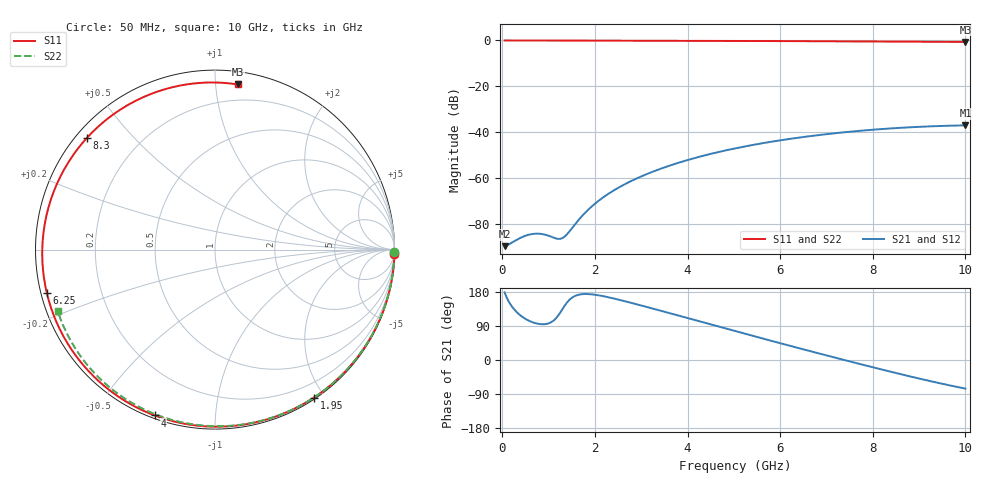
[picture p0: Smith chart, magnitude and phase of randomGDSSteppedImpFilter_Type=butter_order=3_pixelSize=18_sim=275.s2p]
! freq	dB(S11)	phase(S11)	dB(S12)	phase(S12)
!  dB(S21)	phase(S21)	dB(S22)	phase(S22)
!S-par simulation data
#  GHz  S  DB  R 50
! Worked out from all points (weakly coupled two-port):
!   200 points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, 50 MHz to 10 GHz, reference 50 ohm
!   highest |S21| = -36.97 dB at 10 GHz (marker M1); lowest = -89.6 dB at 50 MHz (marker M2)
!   lowest |S11| = -0.6 dB at 10 GHz (marker M3), VSWR 27.07, Z = 4.28 + j57.3 ohm
!   |S11| at or under -10 dB: nowhere
!   |S22| runs from -0.5 to 0.0 dB; largest |S21 - S12| = 0
!   S11 on the Smith chart (normalised r, x): 50 MHz: 0, -77; 1.95 GHz: 0.02, -1.87; 4 GHz: 0.01, -0.70; 6.25 GHz: 0.02, -0.13; 8.3 GHz: 0.03, +0.38; 10 GHz: 0.09, +1.15
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0.05  -0.00 -1.5  -89.58 178.4  -89.58 178.4  -0.00 -0.9
0.75  -0.02 -22.1  -84.13 96.2  -84.13 96.2  -0.01 -13.7
1.55  -0.06 -45.0  -80.58 167.8  -80.58 167.8  -0.04 -28.1
1.75  -0.06 -50.7  -75.83 174.0  -75.83 174.0  -0.04 -31.7
1.95  -0.07 -56.2  -71.95 173.0  -71.95 173.0  -0.05 -35.2
2.25  -0.08 -64.4  -67.32 166.6  -67.32 166.6  -0.05 -40.5
2.55  -0.09 -72.5  -63.64 158.1  -63.64 158.1  -0.06 -45.7
2.95  -0.11 -83.1  -59.65 145.5  -59.65 145.5  -0.07 -52.5
3.4  -0.12 -94.8  -56.01 130.7  -56.01 130.7  -0.08 -60.1
4  -0.15 -110.0  -52.08 110.7  -52.08 110.7  -0.10 -69.9
4.5  -0.17 -122.4  -49.39 94.0  -49.39 94.0  -0.11 -77.9
5.05  -0.20 -135.8  -46.90 75.6  -46.90 75.6  -0.13 -86.5
5.65  -0.24 -150.6  -44.63 55.8  -44.63 55.8  -0.16 -95.7
6.25  -0.29 -165.5  -42.74 36.2  -42.74 36.2  -0.19 -104.7
6.7  -0.32 -176.9  -41.53 21.7  -41.53 21.7  -0.22 -111.3
7.5  -0.40 161.8  -39.75 -3.7  -39.75 -3.7  -0.27 -122.8
8.3  -0.48 138.7  -38.42 -28.3  -38.42 -28.3  -0.34 -134.2
8.35  -0.48 137.2  -38.35 -29.8  -38.35 -29.8  -0.35 -134.9
8.85  -0.53 121.6  -37.75 -44.6  -37.75 -44.6  -0.40 -142.0
9.25  -0.57 108.4  -37.39 -56.0  -37.39 -56.0  -0.44 -147.7
9.65  -0.61 94.6  -37.13 -66.7  -37.13 -66.7  -0.49 -153.5
10  -0.64 82.1  -36.97 -75.5  -36.97 -75.5  -0.53 -158.6
